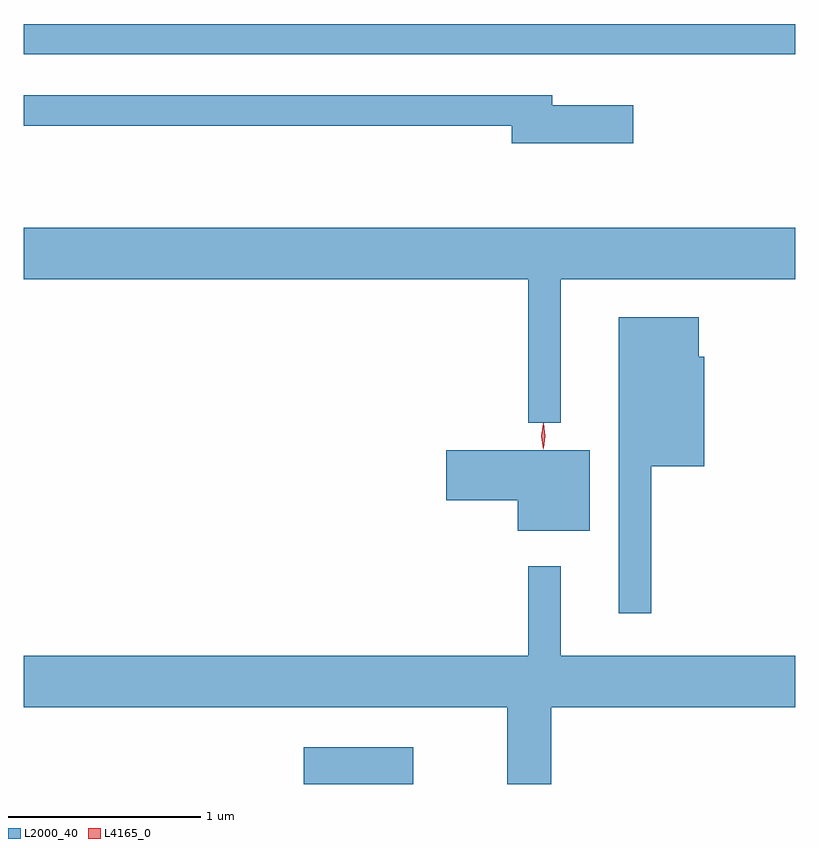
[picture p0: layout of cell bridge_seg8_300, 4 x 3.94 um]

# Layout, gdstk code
import gdstk
lib = gdstk.Library(unit=1e-6, precision=1e-09)
def R(c, l, rs):  # rectangles x0, y0, x1, y1
    for r in rs: c.add(gdstk.rectangle(r[:2], r[2:], *l))
def P(c, l, *ps):  # polygons
    for p in ps: c.add(gdstk.Polygon(p, *l))
L2000_40 = (2000, 40)
L4165_0 = (4165, 0)

bridge_seg8_300 = lib.new_cell('bridge_seg8_300')
R(bridge_seg8_300, L2000_40, [(1378.206,1862.659,1378.774,1862.849), (1376.755,1866.441,1380.755,1866.599)])
P(bridge_seg8_300, L2000_40, [(1379.914,1866.179),(1379.494,1866.179),(1379.494,1866.229),(1376.755,1866.229),(1376.755,1866.071),(1379.286,1866.071),(1379.286,1865.981),(1379.914,1865.981)],
  [(1379.539,1865.276),(1380.755,1865.276),(1380.755,1865.544),(1376.755,1865.544),(1376.755,1865.276),(1379.371,1865.276),(1379.371,1864.533),(1379.539,1864.533)],
  [(1380.009,1864.306),(1380.284,1864.306),(1380.284,1864.874),(1380.254,1864.874),(1380.254,1865.079),(1379.841,1865.079),(1379.841,1863.543),(1380.009,1863.543)],
  [(1379.689,1864.389),(1378.946,1864.389),(1378.946,1864.131),(1379.316,1864.131),(1379.316,1863.971),(1379.689,1863.971)],
  [(1379.489,1863.056),(1380.755,1863.056),(1380.755,1863.324),(1379.539,1863.324),(1379.539,1863.788),(1379.371,1863.788),(1379.371,1863.324),(1376.755,1863.324),(1376.755,1863.056),(1379.261,1863.056),(1379.261,1862.659),(1379.489,1862.659)])
P(bridge_seg8_300, L4165_0, [(1379.449,1864.4),(1379.44,1864.463),(1379.449,1864.526),(1379.45,1864.527),(1379.45,1864.526),(1379.46,1864.463),(1379.45,1864.4),(1379.45,1864.4)],
  [(1379.448,1864.394),(1379.448,1864.394),(1379.439,1864.462),(1379.449,1864.53),(1379.45,1864.53),(1379.45,1864.53),(1379.459,1864.462),(1379.449,1864.394)])

lib.write_gds('bridge_seg8_300.gds')
